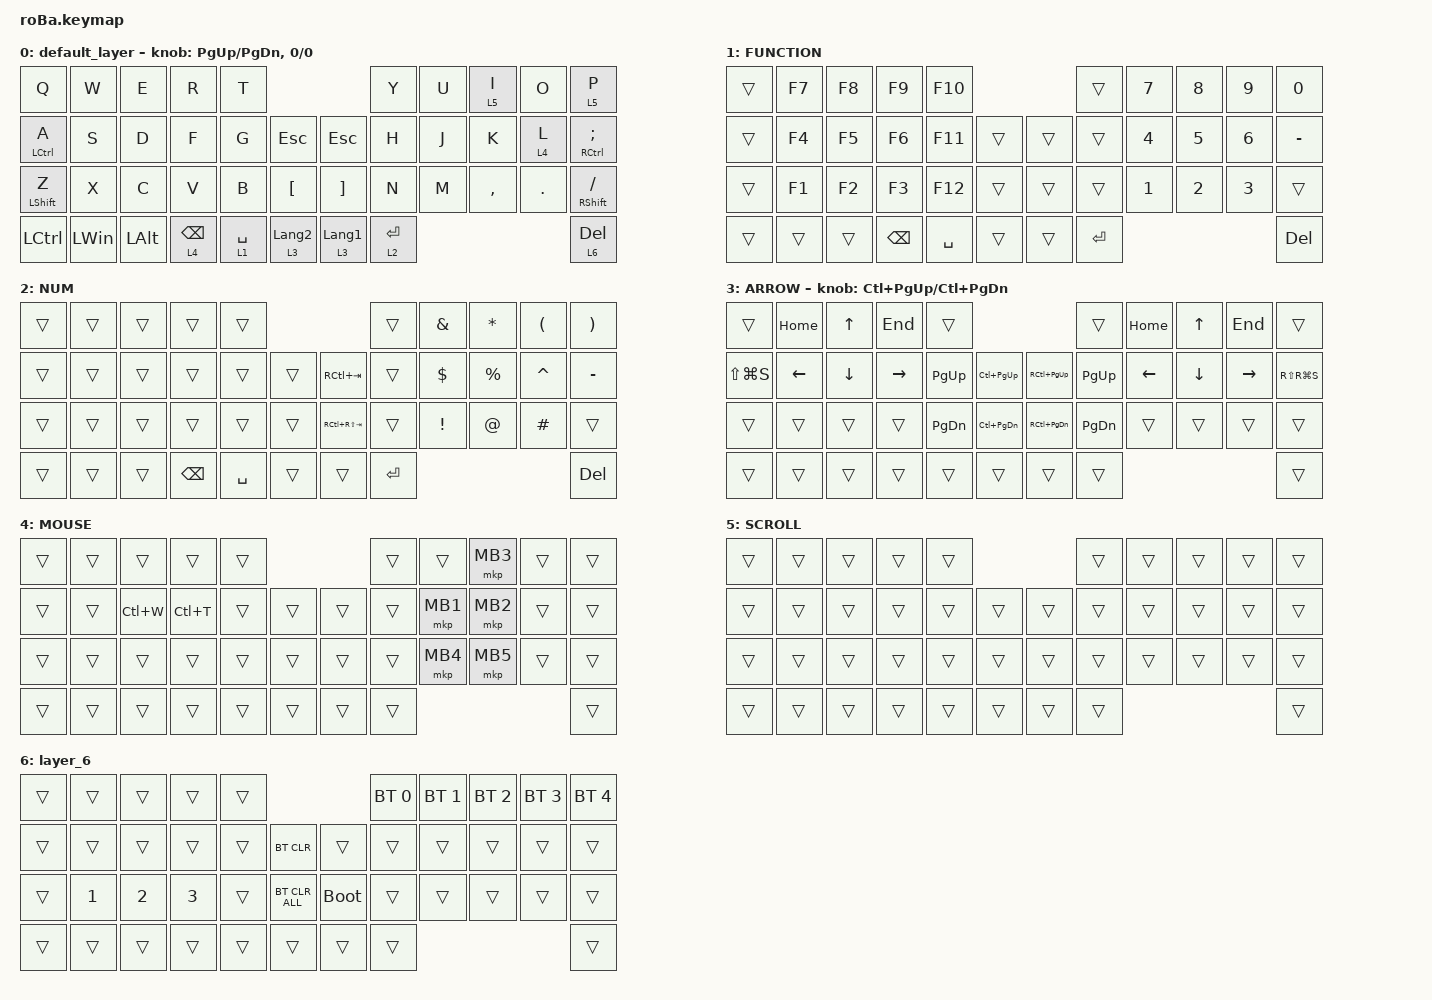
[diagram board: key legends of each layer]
#include <behaviors.dtsi>
#include <dt-bindings/zmk/bt.h>
#include <dt-bindings/zmk/keys.h>
#include <dt-bindings/zmk/pointing.h>

#define MOUSE 4
#define SCROLL 5
#define NUM 6

&mt {
    flavor = "balanced";
    quick-tap-ms = <0>;
};

/ {
    combos {
        compatible = "zmk,combos";

        tab_L {
            bindings = <&kp TAB>;
            key-positions = <11 12>;
        };

        shift_tab_L {
            bindings = <&kp LS(TAB)>;
            key-positions = <12 13>;
        };

        muhennkann {
            bindings = <&to_layer_0 INT_MUHENKAN>;
            key-positions = <11 10>;
        };

        double_quotation {
            bindings = <&kp SQT>;
            key-positions = <20 21>;
        };

        eq_L {
            bindings = <&kp EQUAL>;
            key-positions = <24 25>;
        };

        eq_R {
            bindings = <&kp EQUAL>;
            key-positions = <31 30>;
        };

        taskview_L {
            bindings = <&kp LG(TAB)>;
            key-positions = <11 12 13>;
        };

        taskvie_R {
            bindings = <&kp RG(TAB)>;
            key-positions = <20 19 18>;
        };

        tab_R {
            bindings = <&kp TAB>;
            key-positions = <19 20>;
        };

        shift_tab_R {
            bindings = <&kp RS(TAB)>;
            key-positions = <19 18>;
        };

        minus_R {
            bindings = <&kp MINUS>;
            key-positions = <9 8>;
        };

        Desktop_R_R {
            bindings = <&kp RG(RC(RIGHT_ARROW))>;
            key-positions = <20 19 18 41>;
        };

        Desktop_L_R {
            bindings = <&kp RG(RC(LEFT_ARROW))>;
            key-positions = <20 19 18 40>;
        };

        Desktop_R_L {
            bindings = <&kp RG(RC(RIGHT_ARROW))>;
            key-positions = <39 11 12 13>;
        };

        Desktop_L_L {
            bindings = <&kp RG(RC(LEFT_ARROW))>;
            key-positions = <38 13 12 11>;
        };
    };

    macros {
        to_layer_0: to_layer_0 {
            compatible = "zmk,behavior-macro-one-param";
            #binding-cells = <1>;
            bindings = <&to 0 &macro_param_1to1 &kp MACRO_PLACEHOLDER>;
            label = "TO_LAYER_0";
        };
    };

    behaviors {
        lt_to_layer_0: lt_to_layer_0 {
            compatible = "zmk,behavior-hold-tap";
            label = "LAYER_TAP_TO_0";
            bindings = <&mo>, <&to_layer_0>;

            #binding-cells = <2>;
            tapping-term-ms = <200>;
        };
    };

    keymap {
        compatible = "zmk,keymap";

        default_layer {
            bindings = <
&kp Q               &kp W         &kp E         &kp R                       &kp T                                                                                 &kp Y                   &kp U  &lt 5 I    &kp O    &lt 5 P
&mt LEFT_CONTROL A  &kp S         &kp D         &kp F                       &kp G                   &kp ESCAPE                       &kp ESCAPE                   &kp H                   &kp J  &kp K      &lt 4 L  &mt RCTRL SEMICOLON
&mt LEFT_SHIFT Z    &kp X         &kp C         &kp V                       &kp B                   &kp LEFT_BRACKET                 &kp RIGHT_BRACKET            &kp N                   &kp M  &kp COMMA  &kp DOT  &mt RIGHT_SHIFT SLASH
&kp LCTRL           &kp LEFT_WIN  &kp LEFT_ALT  &lt_to_layer_0 4 BACKSPACE  &lt_to_layer_0 1 SPACE  &lt_to_layer_0 3 LANGUAGE_2      &lt_to_layer_0 3 LANGUAGE_1  &lt_to_layer_0 2 ENTER                             &lt_to_layer_0 6 DELETE
            >;

            sensor-bindings = <&inc_dec_kp PG_UP PAGE_DOWN>, <&inc_dec_kp 0 0>;
        };

        FUNCTION {
            bindings = <
&trans  &kp F7  &kp F8  &kp F9         &kp F10                        &trans     &kp N7        &kp N8        &kp N9        &kp N0
&trans  &kp F4  &kp F5  &kp F6         &kp F11    &trans      &trans  &trans     &kp NUMBER_4  &kp N5        &kp NUMBER_6  &kp MINUS
&trans  &kp F1  &kp F2  &kp F3         &kp F12    &trans      &trans  &trans     &kp NUMBER_1  &kp NUMBER_2  &kp NUMBER_3  &trans
&trans  &trans  &trans  &kp BACKSPACE  &kp SPACE  &trans      &trans  &kp ENTER                                            &kp DELETE
            >;
        };

        NUM {
            bindings = <
&trans  &trans  &trans  &trans         &trans                                  &trans     &kp AMPERSAND    &kp ASTERISK  &kp LEFT_PARENTHESIS  &kp RIGHT_PARENTHESIS
&trans  &trans  &trans  &trans         &trans     &trans      &kp RC(TAB)      &trans     &kp DOLLAR       &kp PERCENT   &kp CARET             &kp MINUS
&trans  &trans  &trans  &trans         &trans     &trans      &kp RC(RS(TAB))  &trans     &kp EXCLAMATION  &kp AT_SIGN   &kp HASH              &trans
&trans  &trans  &trans  &kp BACKSPACE  &kp SPACE  &trans      &trans           &kp ENTER                                                       &kp DEL
            >;
        };

        ARROW {
            bindings = <
&trans         &kp HOME        &kp UP_ARROW    &kp END          &trans                                                   &trans         &kp HOME        &kp UP_ARROW    &kp END          &trans
&kp LS(LG(S))  &kp LEFT_ARROW  &kp DOWN_ARROW  &kp RIGHT_ARROW  &kp PG_UP      &kp LC(PG_UP)          &kp RC(PG_UP)      &kp PG_UP      &kp LEFT_ARROW  &kp DOWN_ARROW  &kp RIGHT_ARROW  &kp RS(RG(S))
&trans         &trans          &trans          &trans           &kp PAGE_DOWN  &kp LC(PAGE_DOWN)      &kp RC(PAGE_DOWN)  &kp PAGE_DOWN  &trans          &trans          &trans           &trans
&trans         &trans          &trans          &trans           &trans         &trans                 &trans             &trans                                                          &trans
            >;

            sensor-bindings = <&inc_dec_kp LC(PAGE_UP) LC(PAGE_DOWN)>;
        };

        MOUSE {
            bindings = <
&trans  &trans  &trans     &trans     &trans                      &trans  &trans    &mkp MB3  &trans  &trans
&trans  &trans  &kp LC(W)  &kp LC(T)  &trans  &trans      &trans  &trans  &mkp MB1  &mkp MB2  &trans  &trans
&trans  &trans  &trans     &trans     &trans  &trans      &trans  &trans  &mkp MB4  &mkp MB5  &trans  &trans
&trans  &trans  &trans     &trans     &trans  &trans      &trans  &trans                              &trans
            >;
        };

        SCROLL {
            bindings = <
&trans  &trans  &trans  &trans  &trans                      &trans  &trans  &trans  &trans  &trans
&trans  &trans  &trans  &trans  &trans  &trans      &trans  &trans  &trans  &trans  &trans  &trans
&trans  &trans  &trans  &trans  &trans  &trans      &trans  &trans  &trans  &trans  &trans  &trans
&trans  &trans  &trans  &trans  &trans  &trans      &trans  &trans                          &trans
            >;
        };

        layer_6 {
            bindings = <
&trans  &trans        &trans        &trans        &trans                                   &bt BT_SEL 0  &bt BT_SEL 1  &bt BT_SEL 2  &bt BT_SEL 3  &bt BT_SEL 4
&trans  &trans        &trans        &trans        &trans  &bt BT_CLR          &trans       &trans        &trans        &trans        &trans        &trans
&trans  &kp NUMBER_1  &kp NUMBER_2  &kp NUMBER_3  &trans  &bt BT_CLR_ALL      &bootloader  &trans        &trans        &trans        &trans        &trans
&trans  &trans        &trans        &trans        &trans  &trans              &trans       &trans                                                  &trans
            >;
        };
    };
};
